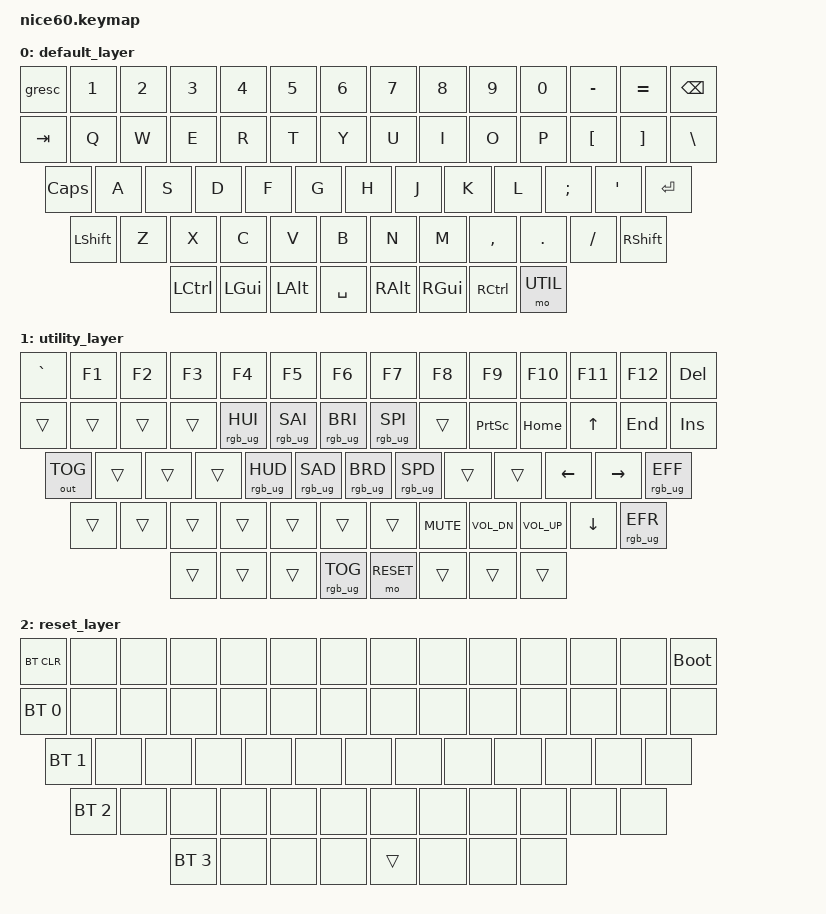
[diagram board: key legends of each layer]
/*
 * Copyright (c) 2021 Nick Winans
 *
 * SPDX-License-Identifier: MIT
 */

#include <behaviors.dtsi>
#include <dt-bindings/zmk/keys.h>
#include <dt-bindings/zmk/rgb.h>
#include <dt-bindings/zmk/bt.h>
#include <dt-bindings/zmk/outputs.h>
#include <dt-bindings/zmk/reset.h>
#include <dt-bindings/zmk/ext_power.h>

#define DEFAULT 0
#define UTIL 	1
#define RESET   2

/ {
	keymap {
		compatible = "zmk,keymap";
		
		default_layer {
// ------------------------------------------------------------------------------------------
// | ESC |  1  |  2  |  3  |  4  |  5  |  6  |  7  |  8  |  9  |  0  |  -  |  =  |   BKSP   |
// | TAB  |  Q  |  W  |  E  |  R  |  T  |  Y  |  U  |  I  |  O  |  P  |  [  |  ]  |   "|"   |
// | CAPS  |  A  |  S  |  D  |  F  |  G  |  H  |  J  |  K  |  L  |  ;  |  '  |     ENTER    |
// |  SHIFT  |  Z  |  X  |  C  |  V  |  B  |  N  |  M  |  ,  |  .  |  /  |      SHIFT       |
// |  CTL  |  WIN  |  ALT  |            SPACE              |  ALT  |  WIN  |  CTL |  MO _1  |
// ------------------------------------------------------------------------------------------
			bindings = <
	&gresc  &kp N1 &kp N2 &kp N3 &kp N4 &kp N5 &kp N6 &kp N7 &kp N8 &kp N9 &kp N0 &kp MINUS &kp EQUAL  &kp BSPC
	&kp TAB  &kp Q  &kp W  &kp E  &kp R  &kp T  &kp Y  &kp U  &kp I  &kp O  &kp P  &kp LBKT  &kp RBKT  &kp BSLH
	&kp CLCK  &kp A  &kp S  &kp D  &kp F  &kp G  &kp H  &kp J  &kp K  &kp L  &kp SEMI &kp SQT           &kp RET
	&kp LSHFT   &kp Z  &kp X  &kp C  &kp V  &kp B  &kp N  &kp M  &kp COMMA &kp DOT &kp FSLH           &kp RSHFT
	&kp LCTRL &kp LGUI &kp LALT             &kp SPACE                     &kp RALT  &kp RGUI  &kp RCTRL   &mo UTIL
			>;
		};

		utility_layer {
// -------------------------------------------------------------------------------------------------------------------
// | GRV |  F1   |   F2   |   F3  |   F4  |   F5  |   F6  |   F7  |   F8  |  F9  |   F10  |  F11  |  F12  |    DEL   |
// |        |       |       |      | HUEUP | SATUP | BRIUP | SPDUP |       | PSCRN |  HME  |  UP  |  END  |   INS    |
// |    OUT_TOG  |      |      |      | HUEDN | SATDN | BRIDN | SPDDN |      |      |  LT  |  RT  |    EFF FORW      |
// |                |      |       |     |       |       |       |  MUTE | VOL-  | VOL+ |  DN  |     EFF REV         |
// |         |        |        |                 TOG RGB                       |   MO_2   |         |        |       |
// -------------------------------------------------------------------------------------------------------------------
			bindings = <
	&kp GRAVE   &kp F1    &kp F2    &kp F3  &kp F4           &kp F5          &kp F6          &kp F7        &kp F8     &kp F9    &kp F10    &kp F11    &kp F12         &kp DEL
	&trans  &trans   &trans &trans  &rgb_ug RGB_HUI  &rgb_ug RGB_SAI &rgb_ug RGB_BRI &rgb_ug RGB_SPI &trans &kp PSCRN &kp HOME &kp UP  &kp END  &kp INS 
	&out OUT_TOG   &trans    &trans     &trans   &rgb_ug RGB_HUD &rgb_ug RGB_SAD  &rgb_ug RGB_BRD &rgb_ug RGB_SPD   &trans      &trans           &kp LEFT &kp RIGHT &rgb_ug RGB_EFF
	&trans       &trans    &trans    &trans   &trans         &trans           &trans          &kp C_MUTE         &kp C_VOL_DN   &kp C_VOL_UP     &kp DOWN     &rgb_ug RGB_EFR
	&trans   &trans   &trans                            &rgb_ug RGB_TOG                                      &mo RESET     &trans      &trans                &trans
			>;
		};
		
		reset_layer {
// ------------------------------------------------------------------------------------------------
// | BT CLR |     |     |     |     |     |     |     |     |     |     |     |     | BOOTLOADER  |
// |  BT 1   |   |     |   |       |       |       |       |   |     |    |     |     |           |
// |   BT 2   |    |      |     |       |       |      |      |     |    |   |     |              |
// |    BT 3     |     |      |      |     |     |     |     |     |     |     |                  |
// |   BT 4  |      |      |                                    |         |       |       |       |
// ------------------------------------------------------------------------------------------------
			bindings = <
	&bt BT_CLR   &none    &none   &none  &none           &none         &none        &none         &none   &none   &none  &none &none  &bootloader
	&bt BT_SEL 0  &none    &none    &none  &none  &none &none &none  &none   &none   &none   &none  &none          &none 
	&bt BT_SEL 1   &none  &none  &none &none &none &none &none &none   &none   &none   &none        &none
	&bt BT_SEL 2    &none    &none    &none   &none          &none          &none          &none          &none   &none   &none                          &none
	&bt BT_SEL 3  &none   &none                            &none                                     &trans      &none      &none               &none
			>;
		};
	};
};
